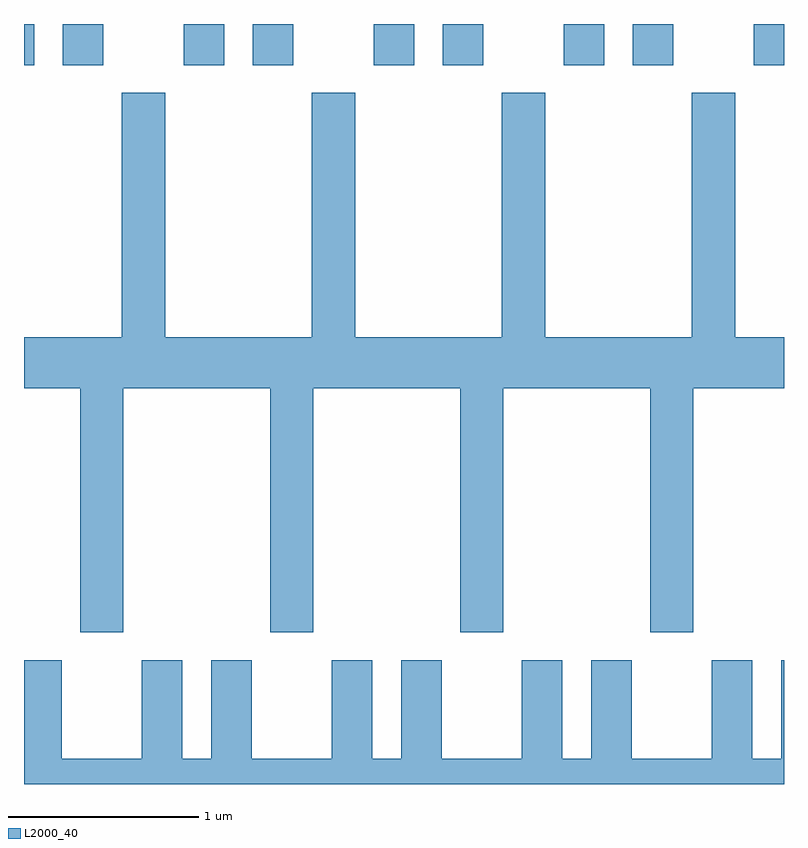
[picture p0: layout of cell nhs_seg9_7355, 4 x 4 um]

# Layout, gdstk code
import gdstk
lib = gdstk.Library(unit=1e-6, precision=1e-09)
def R(c, l, rs):  # rectangles x0, y0, x1, y1
    for r in rs: c.add(gdstk.rectangle(r[:2], r[2:], *l))
def P(c, l, *ps):  # polygons
    for p in ps: c.add(gdstk.Polygon(p, *l))
L2000_40 = (2000, 40)

nhs_seg9_7355 = lib.new_cell('nhs_seg9_7355')
R(nhs_seg9_7355, L2000_40, [(403.611,1960.216,403.664,1960.432), (403.816,1960.216,404.029,1960.432), (404.451,1960.216,404.664,1960.432), (404.816,1960.216,405.029,1960.432), (405.451,1960.216,405.664,1960.432), (405.816,1960.216,406.029,1960.432), (406.451,1960.216,406.664,1960.432), (406.816,1960.216,407.029,1960.432), (407.451,1960.216,407.611,1960.432)])
P(nhs_seg9_7355, L2000_40, [(404.134,1958.516),(404.906,1958.516),(404.906,1957.231),(405.134,1957.231),(405.134,1958.516),(405.906,1958.516),(405.906,1957.231),(406.134,1957.231),(406.134,1958.516),(406.906,1958.516),(406.906,1957.231),(407.134,1957.231),(407.134,1958.516),(407.611,1958.516),(407.611,1958.784),(407.354,1958.784),(407.354,1960.069),(407.126,1960.069),(407.126,1958.784),(406.354,1958.784),(406.354,1960.069),(406.126,1960.069),(406.126,1958.784),(405.354,1958.784),(405.354,1960.069),(405.126,1960.069),(405.126,1958.784),(404.354,1958.784),(404.354,1960.069),(404.126,1960.069),(404.126,1958.784),(403.611,1958.784),(403.611,1958.516),(403.906,1958.516),(403.906,1957.231),(404.134,1957.231)],
  [(407.611,1957.084),(407.596,1957.084),(407.596,1956.564),(407.444,1956.564),(407.444,1957.084),(407.231,1957.084),(407.231,1956.564),(406.809,1956.564),(406.809,1957.084),(406.596,1957.084),(406.596,1956.564),(406.444,1956.564),(406.444,1957.084),(406.231,1957.084),(406.231,1956.564),(405.809,1956.564),(405.809,1957.084),(405.596,1957.084),(405.596,1956.564),(405.444,1956.564),(405.444,1957.084),(405.231,1957.084),(405.231,1956.564),(404.809,1956.564),(404.809,1957.084),(404.596,1957.084),(404.596,1956.564),(404.444,1956.564),(404.444,1957.084),(404.231,1957.084),(404.231,1956.564),(403.809,1956.564),(403.809,1957.084),(403.611,1957.084),(403.611,1956.432),(407.611,1956.432)])

lib.write_gds('nhs_seg9_7355.gds')
